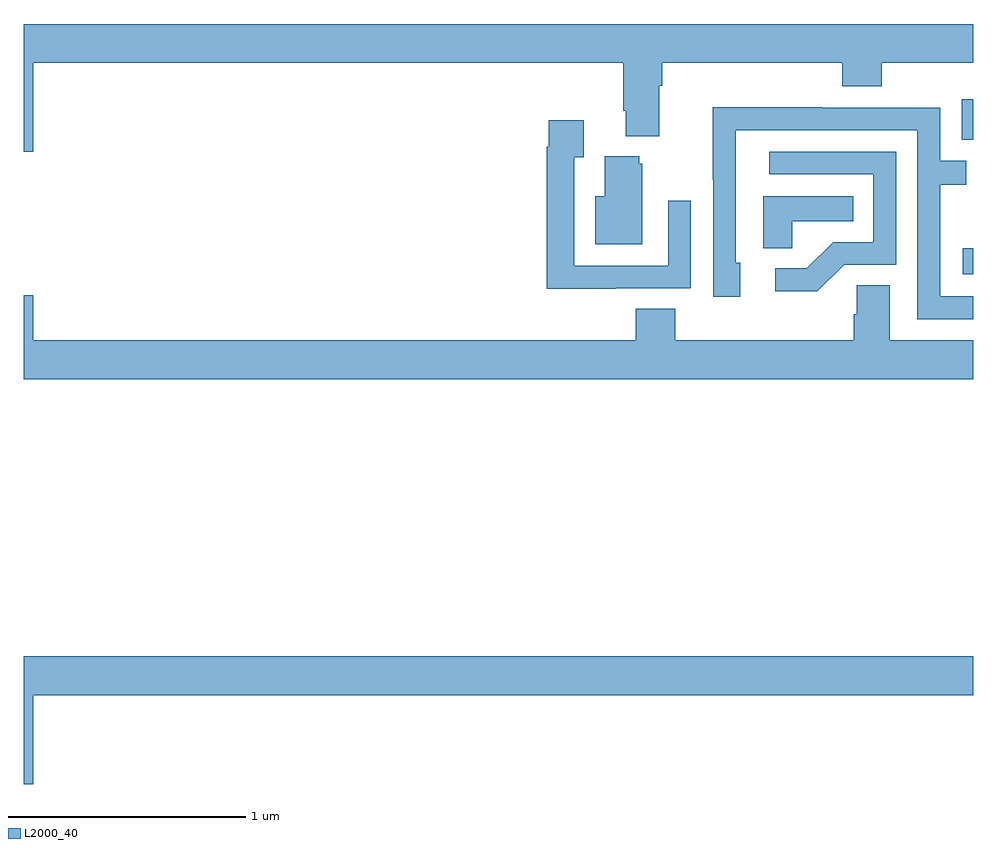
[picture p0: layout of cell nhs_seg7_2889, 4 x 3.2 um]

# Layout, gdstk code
import gdstk
lib = gdstk.Library(unit=1e-6, precision=1e-09)
def R(c, l, rs):  # rectangles x0, y0, x1, y1
    for r in rs: c.add(gdstk.rectangle(r[:2], r[2:], *l))
def P(c, l, *ps):  # polygons
    for p in ps: c.add(gdstk.Polygon(p, *l))
L2000_40 = (2000, 40)

nhs_seg7_2889 = lib.new_cell('nhs_seg7_2889')
R(nhs_seg7_2889, L2000_40, [(300.957,1006.385,301,1006.495), (300.951,1006.953,301,1007.122)])
P(nhs_seg7_2889, L2000_40, [(297.04,1007.276),(299.525,1007.276),(299.525,1007.074),(299.537,1007.074),(299.537,1006.967),(299.677,1006.967),(299.677,1007.18),(299.69,1007.18),(299.69,1007.276),(300.449,1007.276),(300.449,1007.177),(300.614,1007.177),(300.614,1007.276),(301,1007.276),(301,1007.44),(297,1007.44),(297,1006.902),(297.04,1006.902)],
  [(301,1006.293),(300.861,1006.293),(300.861,1006.762),(300.971,1006.762),(300.971,1006.863),(300.861,1006.863),(300.861,1007.088),(300.365,1007.088),(300.365,1007.09),(299.902,1007.09),(299.902,1006.783),(299.904,1006.783),(299.904,1006.29),(300.019,1006.29),(300.019,1006.434),(300,1006.434),(300,1006.992),(300.765,1006.992),(300.765,1006.197),(301,1006.197)],
  [(299.495,1006.326),(299.811,1006.326),(299.811,1006.696),(299.715,1006.696),(299.715,1006.422),(299.319,1006.422),(299.319,1006.879),(299.359,1006.879),(299.359,1007.035),(299.211,1007.035),(299.211,1006.922),(299.203,1006.922),(299.203,1006.325),(299.495,1006.325)],
  [(300.456,1006.425),(300.675,1006.425),(300.675,1006.902),(300.141,1006.902),(300.141,1006.806),(300.579,1006.806),(300.579,1006.521),(300.41,1006.521),(300.299,1006.41),(300.165,1006.41),(300.165,1006.313),(300.343,1006.313)],
  [(299.605,1006.851),(299.594,1006.851),(299.594,1006.882),(299.447,1006.882),(299.447,1006.714),(299.408,1006.714),(299.408,1006.511),(299.605,1006.511)],
  [(300.237,1006.61),(300.494,1006.61),(300.494,1006.714),(300.116,1006.714),(300.116,1006.495),(300.237,1006.495)],
  [(301,1006.108),(300.649,1006.108),(300.649,1006.34),(300.51,1006.34),(300.51,1006.217),(300.497,1006.217),(300.497,1006.108),(299.744,1006.108),(299.744,1006.241),(299.579,1006.241),(299.579,1006.108),(297.04,1006.108),(297.04,1006.297),(297,1006.297),(297,1005.944),(301,1005.944)],
  [(297.04,1004.612),(301,1004.612),(301,1004.776),(297,1004.776),(297,1004.238),(297.04,1004.238)])

lib.write_gds('nhs_seg7_2889.gds')
